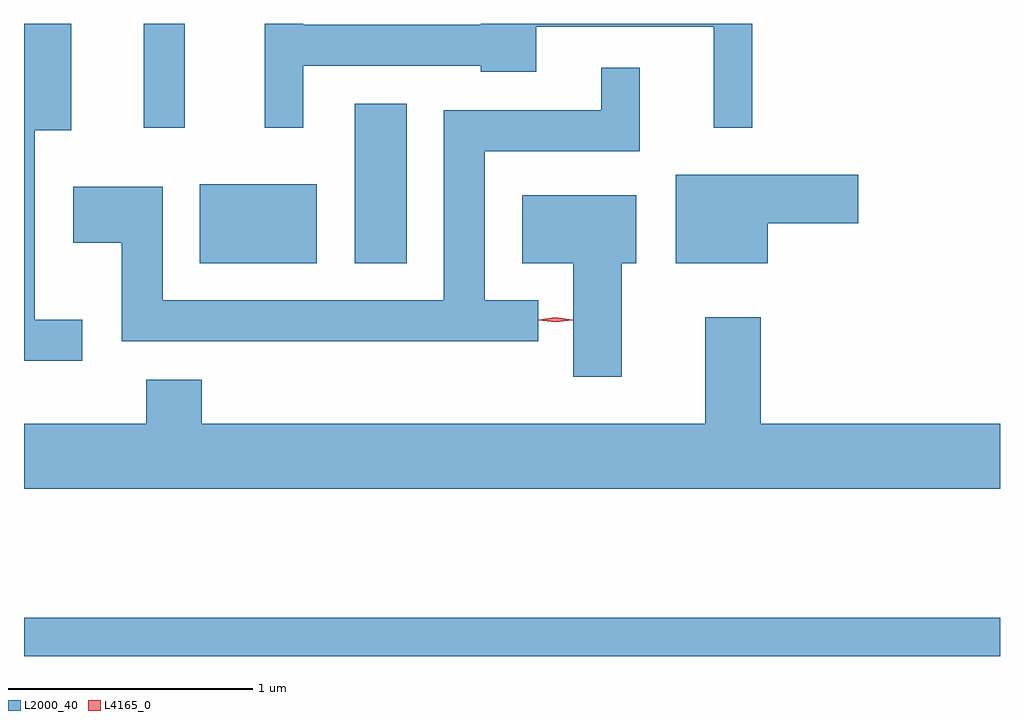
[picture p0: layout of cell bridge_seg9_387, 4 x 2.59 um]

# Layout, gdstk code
import gdstk
lib = gdstk.Library(unit=1e-6, precision=1e-09)
def R(c, l, rs):  # rectangles x0, y0, x1, y1
    for r in rs: c.add(gdstk.rectangle(r[:2], r[2:], *l))
def P(c, l, *ps):  # polygons
    for p in ps: c.add(gdstk.Polygon(p, *l))
L2000_40 = (2000, 40)
L4165_0 = (4165, 0)

bridge_seg9_387 = lib.new_cell('bridge_seg9_387')
R(bridge_seg9_387, L2000_40, [(622.78,2079.931,626.78,2080.089), (623.501,2081.541,623.979,2081.864), (624.136,2081.541,624.349,2082.194), (623.271,2082.097,623.439,2082.522)])
P(bridge_seg9_387, L2000_40, [(623.924,2082.351),(624.651,2082.351),(624.651,2082.326),(624.879,2082.326),(624.879,2082.511),(625.606,2082.511),(625.606,2082.097),(625.764,2082.097),(625.764,2082.522),(624.651,2082.522),(624.651,2082.519),(623.924,2082.519),(623.924,2082.522),(623.766,2082.522),(623.766,2082.097),(623.924,2082.097)],
  [(623.018,2081.309),(622.824,2081.309),(622.824,2082.086),(622.974,2082.086),(622.974,2082.522),(622.78,2082.522),(622.78,2081.141),(623.018,2081.141)],
  [(624.888,2081.389),(624.669,2081.389),(624.669,2082.001),(625.304,2082.001),(625.304,2082.343),(625.146,2082.343),(625.146,2082.169),(624.501,2082.169),(624.501,2081.389),(623.349,2081.389),(623.349,2081.854),(622.981,2081.854),(622.981,2081.626),(623.181,2081.626),(623.181,2081.221),(624.888,2081.221)],
  [(625.829,2081.706),(626.199,2081.706),(626.199,2081.904),(625.451,2081.904),(625.451,2081.541),(625.829,2081.541)],
  [(625.229,2081.541),(625.289,2081.541),(625.289,2081.819),(624.821,2081.819),(624.821,2081.541),(625.031,2081.541),(625.031,2081.076),(625.229,2081.076)],
  [(626.78,2080.884),(625.799,2080.884),(625.799,2081.319),(625.571,2081.319),(625.571,2080.884),(623.509,2080.884),(623.509,2081.064),(623.281,2081.064),(623.281,2080.884),(622.78,2080.884),(622.78,2080.616),(626.78,2080.616)])
P(bridge_seg9_387, L4165_0, [(624.958,2081.299),(624.889,2081.308),(624.889,2081.309),(624.889,2081.309),(624.958,2081.319),(625.028,2081.309),(625.028,2081.309),(625.028,2081.308)])

lib.write_gds('bridge_seg9_387.gds')
